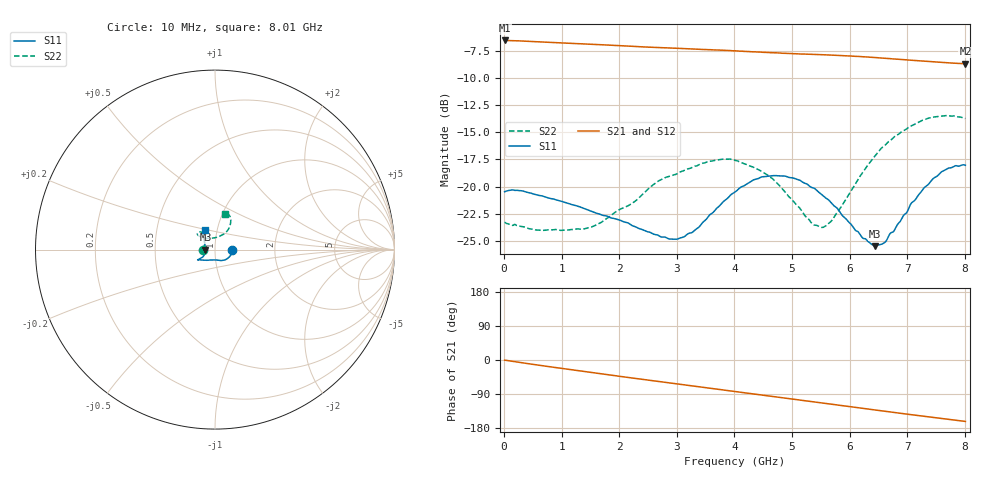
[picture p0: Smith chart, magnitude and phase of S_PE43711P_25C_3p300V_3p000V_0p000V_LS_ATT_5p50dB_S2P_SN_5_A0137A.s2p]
! Device ID: PE43711P
! File Path: z:\PE43711P\CHAR_NOM_04282014\AMB\3p300\LS_ATT_5p50dB\PE43711P_AMB_3p300V_3p000V_0p000V_LS_ATT_5p50dB_S2P_SN_5_A0137A.s2p
! Serial: 5
! Lot: A0137A
! Temp: 25C
! VDD: 3.300
! VSS: 0.000
! Control_Hi: 3.000
! Control_Lo: 0.000
! Attenuation Step: 5.50dB
! Port 1: RF1
! Port 2: RF2
! ThroughPath:1-2
! IDD: 0.0001278863
! ISS: -1.719e-007
#  Hz  S  RI  R  50
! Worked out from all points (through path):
!   801 points, 10 MHz to 8.01 GHz, reference 50 ohm
!   highest |S21| = -6.56 dB at 10 MHz (marker M1); lowest = -8.7 dB at 8.01 GHz (marker M2)
!   group delay of S21, straight-line fit = 55.9 ps
!   lowest |S11| = -25.5 dB at 6.44 GHz (marker M3), VSWR 1.11, Z = 44.9 - j0.018 ohm
!   |S11| at or under -10 dB: start of sweep to end of sweep
!   |S22| runs from -24.0 to -13.5 dB; largest |S21 - S12| = 0.00093
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1e7  0.0949 -0.000407  0.4699 -0.00242  0.47 -0.00255  -0.0686 0.000518
5.8e8  0.0848 -0.0342  0.451 -0.1059  0.4513 -0.106  -0.0631 0.00318
1.35e9  0.0561 -0.0572  0.3948 -0.223  0.3951 -0.2232  -0.0607 0.0193
2.2e9  0.0283 -0.0606  0.3014 -0.3234  0.3018 -0.3235  -0.0584 0.059
2.68e9  0.0124 -0.0584  0.24 -0.3638  0.2402 -0.3641  -0.0625 0.0859
2.98e9  -0.00333 -0.0573  0.1992 -0.3842  0.1992 -0.3845  -0.0683 0.0911
3.27e9  -0.0213 -0.0579  0.1576 -0.3992  0.1579 -0.3995  -0.0753 0.0969
4.01e9  -0.0748 -0.0576  0.0493 -0.4182  0.0491 -0.4184  -0.0983 0.0884
4.34e9  -0.0914 -0.0568  0.00126 -0.4166  0.00118 -0.4169  -0.0935 0.0789
4.68e9  -0.097 -0.0569  -0.0471 -0.4096  -0.0472 -0.4097  -0.081 0.0708
5.04e9  -0.094 -0.0556  -0.0957 -0.3972  -0.096 -0.3971  -0.055 0.0645
5.35e9  -0.0853 -0.0503  -0.1367 -0.3818  -0.1368 -0.3823  -0.0258 0.0625
5.53e9  -0.0782 -0.0471  -0.1598 -0.371  -0.1598 -0.3711  -0.00639 0.0647
5.67e9  -0.0726 -0.044  -0.1775 -0.3615  -0.1776 -0.3616  0.00931 0.0683
6.22e9  -0.0559 -0.0167  -0.24 -0.3146  -0.2405 -0.3147  0.0618 0.0977
6.44e9  -0.0533 -0.0002  -0.2614 -0.2922  -0.2617 -0.2925  0.0762 0.1157
6.59e9  -0.0536 0.0122  -0.2745 -0.2763  -0.2746 -0.2767  0.0812 0.1296
6.68e9  -0.0554 0.0219  -0.2819 -0.2668  -0.2819 -0.2671  0.0841 0.1378
7.05e9  -0.0603 0.0559  -0.3083 -0.2247  -0.308 -0.2249  0.0872 0.1678
7.45e9  -0.0643 0.0878  -0.3294 -0.1781  -0.3296 -0.1782  0.0771 0.1938
7.7e9  -0.065 0.1022  -0.3397 -0.149  -0.3396 -0.1487  0.0662 0.2017
8.01e9  -0.0578 0.1112  -0.3497 -0.1128  -0.3501 -0.1119  0.0566 0.1977
